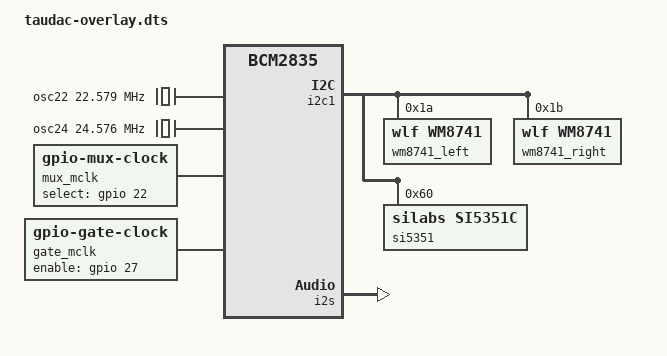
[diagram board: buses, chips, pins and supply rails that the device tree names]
/*
 * Device tree overlay for TauDAC-DM101
 *
 * Author: Sergej Sawazki <sergej@taudac.com>
 */
/dts-v1/;
/plugin/;

#include <dt-bindings/gpio/gpio.h>
#include <dt-bindings/sound/wm8741.h>
#include <dt-bindings/clock/si5351.h>

/ {
	/* base architecture for the Raspberry Pi SoCs */
	compatible = "brcm,bcm2835";

	fragment@0 {
		target = <&gpio>;
		__overlay__ {

			mclk_pins: mclk_pins {
				brcm,pins = <22 27>;
				brcm,function = <1>;
				brcm,pull = <0>;
			};
		};
	};

	fragment@1 {
		target-path = "/";
		__overlay__ {

			xtal: tau_xtal {
				compatible = "fixed-clock";
				#clock-cells = <0>;
				clock-frequency = <0>; /* not mounted */
			};

			osc22: tau_osc22 {
				compatible = "fixed-clock";
				#clock-cells = <0>;
				clock-frequency = <22579200>;
			};

			osc24: tau_osc24 {
				compatible = "fixed-clock";
				#clock-cells = <0>;
				clock-frequency = <24576000>;
			};

			mux_mclk: tau_mux_mclk {
				compatible = "gpio-mux-clock";
				clocks = <&osc24>, <&osc22>;
				#clock-cells = <0>;
				select-gpios = <&gpio 22 GPIO_ACTIVE_HIGH>;
			};

			gate_mclk: tau_gate_mclk {
				compatible = "gpio-gate-clock";
				clocks = <&mux_mclk>;
				#clock-cells = <0>;
				enable-gpios = <&gpio 27 GPIO_ACTIVE_HIGH>;
			};
		};
	};

	fragment@3 {
		target = <&i2c1>;
		__overlay__ {
			#address-cells = <1>;
			#size-cells = <0>;
			status = "okay";

			wm8741_left: wm8741@1a {
				#sound-dai-cells = <0>;
				compatible = "wlf,wm8741";
				reg = <0x1a>;
				diff-mode = <WM8741_DIFF_MODE_MONO_LEFT>;
				status = "okay";
			};

			wm8741_right: wm8741@1b {
				#sound-dai-cells = <0>;
				compatible = "wlf,wm8741";
				reg = <0x1b>;
				diff-mode = <WM8741_DIFF_MODE_MONO_RIGHT>;
				status = "okay";
			};

			si5351: si5351c@60 {
				#address-cells = <1>;
				#size-cells = <0>;
				#clock-cells = <1>;
				compatible = "silabs,si5351c";
				reg = <0x60>;
				clocks = <&xtal>, <&gate_mclk>;
				clock-names = "xtal", "clkin";
				silabs,pll-source = <SI5351_PLL_A SI5351_PLL_SRC_XTAL>,
				                    <SI5351_PLL_B SI5351_PLL_SRC_CLKIN>;
				status = "okay";

				/* BCLK CPU */
				clkout@0 {
					reg = <0>;
					silabs,disable-state = <SI5351_DISABLE_FLOATING>;
					silabs,clock-source = <SI5351_CLKOUT_SRC_MSYNTH_N>;
					silabs,multisynth-source = <SI5351_MULTISYNTH_SRC_VCOB>;
					silabs,drive-strength = <SI5351_DRIVE_2MA>;
				};

				/* LRCLK CPU */
				clkout@1 {
					reg = <1>;
					silabs,disable-state = <SI5351_DISABLE_FLOATING>;
					silabs,clock-source = <SI5351_CLKOUT_SRC_MSYNTH_N>;
					silabs,multisynth-source = <SI5351_MULTISYNTH_SRC_VCOB>;
					silabs,drive-strength = <SI5351_DRIVE_2MA>;
				};

				/* BCLK DAC/L */
				clkout@2 {
					reg = <2>;
					silabs,disable-state = <SI5351_DISABLE_FLOATING>;
					silabs,clock-source = <SI5351_CLKOUT_SRC_MSYNTH_N>;
					silabs,multisynth-source = <SI5351_MULTISYNTH_SRC_VCOB>;
					silabs,drive-strength = <SI5351_DRIVE_2MA>;
				};

				/* LRCLK DAC/L */
				clkout@3 {
					reg = <3>;
					silabs,disable-state = <SI5351_DISABLE_FLOATING>;
					silabs,clock-source = <SI5351_CLKOUT_SRC_MSYNTH_N>;
					silabs,multisynth-source = <SI5351_MULTISYNTH_SRC_VCOB>;
					silabs,drive-strength = <SI5351_DRIVE_2MA>;
				};

				/* BCLK DAC/R */
				clkout@4 {
					reg = <4>;
					silabs,disable-state = <SI5351_DISABLE_FLOATING>;
					silabs,clock-source = <SI5351_CLKOUT_SRC_MSYNTH_N>;
					silabs,multisynth-source = <SI5351_MULTISYNTH_SRC_VCOB>;
					silabs,drive-strength = <SI5351_DRIVE_2MA>;
				};

				/* LRCLK DAC/R */
				clkout@5 {
					reg = <5>;
					silabs,disable-state = <SI5351_DISABLE_FLOATING>;
					silabs,clock-source = <SI5351_CLKOUT_SRC_MSYNTH_N>;
					silabs,multisynth-source = <SI5351_MULTISYNTH_SRC_VCOB>;
					silabs,drive-strength = <SI5351_DRIVE_2MA>;
					silabs,pll-reset;
				};

				/* not used */
				clkout@6 {
					reg = <6>;
					silabs,disable-state = <SI5351_DISABLE_LOW>;
					silabs,clock-source = <SI5351_CLKOUT_SRC_XTAL>;
					silabs,multisynth-source = <SI5351_MULTISYNTH_SRC_VCOA>;
				};

				/* not used */
				clkout@7 {
					reg = <7>;
					silabs,disable-state = <SI5351_DISABLE_LOW>;
					silabs,clock-source = <SI5351_CLKOUT_SRC_XTAL>;
					silabs,multisynth-source = <SI5351_MULTISYNTH_SRC_VCOA>;
				};
			};
		};
	};

	fragment@4 {
		target = <&sound>;
		__overlay__ {
			compatible = "taudac,dm101";
			taudac,model = "TauDAC-DM101";
			taudac,i2s-controller = <&i2s>;
			taudac,codecs = <&wm8741_left>, <&wm8741_right>;

			clocks = <&osc24>, <&osc22>,
			         <&mux_mclk>, <&gate_mclk>,
			         <&si5351 0>, <&si5351 1>,
			         <&si5351 2>, <&si5351 3>,
			         <&si5351 4>, <&si5351 5>;

			clock-names = "mclk-24M", "mclk-22M",
			              "mux-mclk",  "gate-mclk",
			              "bclk-cpu",  "lrclk-cpu",
			              "bclk-dacl", "lrclk-dacl",
			              "bclk-dacr", "lrclk-dacr";

			status = "okay";
		};
	};

	fragment@5 {
		target = <&i2s>;
		__overlay__ {
			status = "okay";
		};
	};
};
